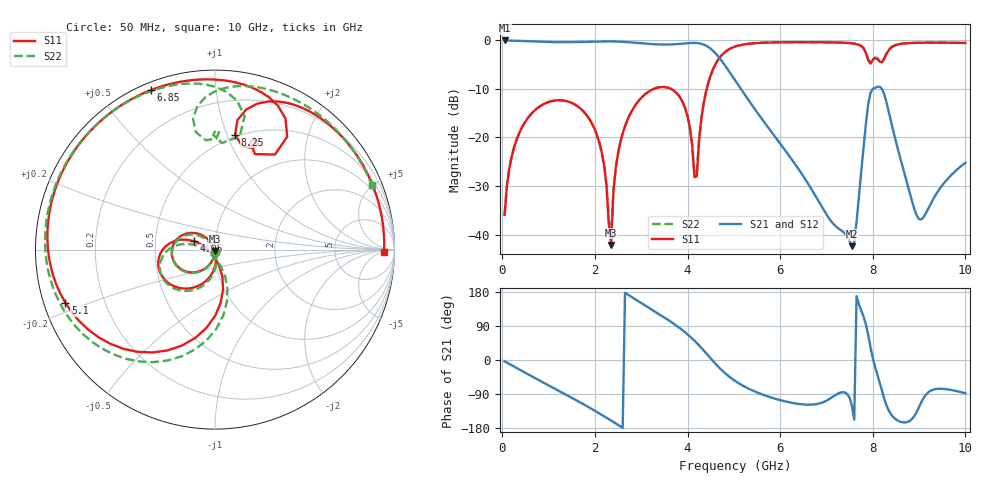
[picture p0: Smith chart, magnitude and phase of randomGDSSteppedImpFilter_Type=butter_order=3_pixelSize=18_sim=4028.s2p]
! freq	dB(S11)	phase(S11)	dB(S12)	phase(S12)
!  dB(S21)	phase(S21)	dB(S22)	phase(S22)
!S-par simulation data
#  GHz  S  DB  R 50
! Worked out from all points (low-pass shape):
!   200 points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, 50 MHz to 10 GHz, reference 50 ohm
!   highest |S21| = -0.01 dB at 50 MHz (marker M1); lowest = -42.4 dB at 7.55 GHz (marker M2)
!   |S21| within 3 dB of the highest: start of sweep to 4.636 GHz
!   lowest |S11| = -42.2 dB at 2.35 GHz (marker M3), VSWR 1.02, Z = 49.9 - j0.777 ohm
!   |S11| at or under -10 dB: start of sweep to 3.269 GHz; 3.645 GHz to 4.414 GHz (769.5 MHz wide, 19.1 % of centre)
!   |S22| runs from -40.0 to -0.4 dB; largest |S21 - S12| = 0
!   S11 on the Smith chart (normalised r, x): 50 MHz: 1.00, -0.03; 4.05 GHz: 0.79, +0.08; 5.1 GHz: 0.06, -0.17; 6.85 GHz: 0.03, +0.67; 8.25 GHz: 0.48, +1.07; 10 GHz: 31, -8
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0.05  -35.94 -93.2  -0.01 -3.5  -0.01 -3.5  -35.96 -93.1
0.2  -24.05 -103.9  -0.04 -13.7  -0.04 -13.7  -24.03 -103.4
0.55  -16.01 -128.2  -0.16 -37.3  -0.16 -37.3  -16.00 -127.3
1.75  -14.60 151.9  -0.30 -116.5  -0.30 -116.5  -14.61 155.4
2.15  -23.16 124.5  -0.20 -144.9  -0.20 -144.9  -23.18 130.6
2.35  -42.16 -94.4  -0.20 -159.8  -0.20 -159.8  -40.04 -110.7
2.45  -26.33 -82.9  -0.23 -167.4  -0.23 -167.4  -26.22 -83.1
2.6  -19.17 -92.7  -0.29 -178.8  -0.29 -178.8  -19.13 -90.3
3.4  -9.64 -152.7  -0.84 120.0  -0.84 120.0  -9.63 -147.1
4.05  -17.96 158.1  -0.53 62.4  -0.53 62.4  -17.91 167.1
4.2  -27.98 -96.7  -0.54 44.8  -0.54 44.8  -27.09 -93.8
4.45  -8.68 -89.8  -1.37 11.1  -1.37 11.1  -8.64 -82.8
5.05  -1.20 -156.4  -8.55 -57.1  -8.55 -57.1  -1.19 -147.1
5.1  -1.07 -160.4  -9.26 -61.0  -9.26 -61.0  -1.05 -150.9
6.7  -0.37 118.2  -31.01 -117.6  -31.01 -117.6  -0.36 133.3
6.85  -0.38 112.0  -33.44 -114.5  -33.44 -114.5  -0.37 127.7
7.55  -0.60 80.1  -42.39 -121.2  -42.39 -121.2  -0.57 98.6
7.95  -4.78 67.2  -10.78 34.4  -10.78 34.4  -4.51 86.2
8.25  -3.73 80.1  -11.15 -103.3  -11.15 -103.3  -3.56 99.3
8.35  -1.94 77.4  -14.91 -134.3  -14.91 -134.3  -1.88 97.0
9  -0.47 41.0  -36.82 -123.9  -36.82 -123.9  -0.48 62.9
10  -0.52 -0.9  -25.21 -87.8  -25.21 -87.8  -0.50 22.3
